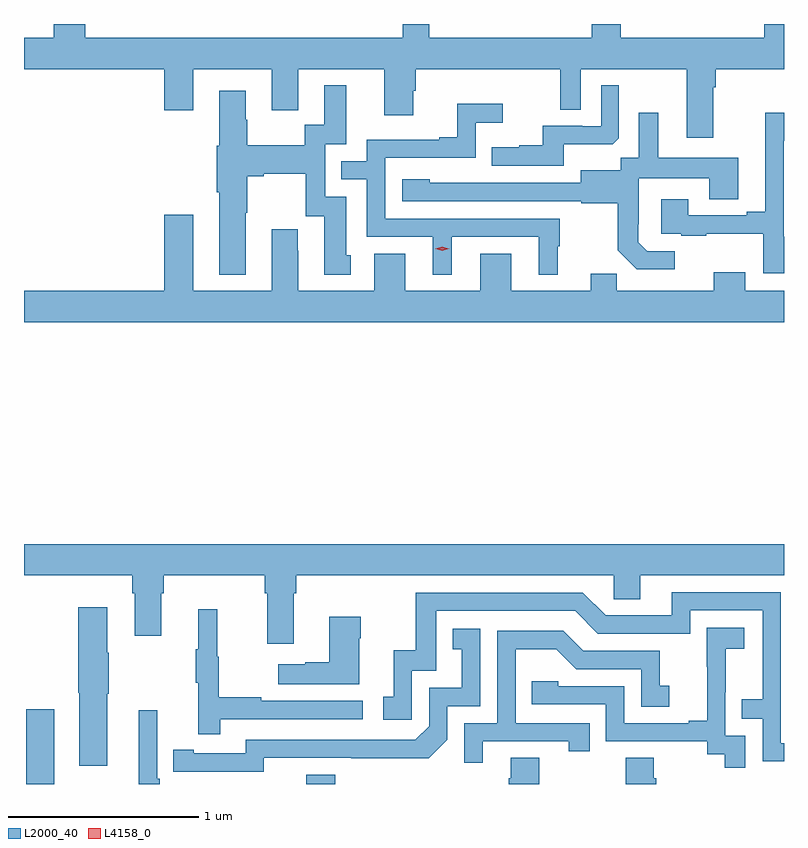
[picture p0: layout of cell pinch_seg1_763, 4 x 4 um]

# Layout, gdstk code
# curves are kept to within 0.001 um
import gdstk
lib = gdstk.Library(unit=1e-6, precision=1e-09)
def R(c, l, rs):  # rectangles x0, y0, x1, y1
    for r in rs: c.add(gdstk.rectangle(r[:2], r[2:], *l))
def P(c, l, *ps):  # polygons
    for p in ps: c.add(gdstk.Polygon(p, *l))
L2000_40 = (2000, 40)
L4158_0 = (4158, 0)

pinch_seg1_763 = lib.new_cell('pinch_seg1_763')
R(pinch_seg1_763, L2000_40, [(590.212,573.277,590.359,573.67), (591.686,573.277,591.839,573.325)])
P(pinch_seg1_763, L2000_40, [(593.827,576.944),(593.84,576.944),(593.84,577.04),(594.2,577.04),(594.2,577.277),(594.095,577.277),(594.095,577.204),(593.342,577.204),(593.342,577.277),(593.189,577.277),(593.189,577.204),(592.333,577.204),(592.333,577.277),(592.194,577.277),(592.194,577.204),(590.522,577.204),(590.522,577.277),(590.357,577.277),(590.357,577.204),(590.2,577.204),(590.2,577.04),(590.939,577.04),(590.939,576.822),(591.091,576.822),(591.091,577.04),(591.503,577.04),(591.503,576.822),(591.643,576.822),(591.643,577.04),(592.097,577.04),(592.097,576.798),(592.249,576.798),(592.249,576.927),(592.262,576.927),(592.262,577.04),(593.022,577.04),(593.022,576.826),(593.13,576.826),(593.13,577.04),(593.687,577.04),(593.687,576.678),(593.827,576.678)],
  [(593.041,576.644),(593.299,576.644),(593.331,576.675),(593.331,576.955),(593.238,576.955),(593.238,576.738),(593.138,576.738),(593.138,576.741),(592.931,576.741),(592.931,576.64),(592.807,576.64),(592.807,576.628),(592.663,576.628),(592.663,576.531),(593.041,576.531)],
  [(591.367,576.283),(591.375,576.283),(591.375,576.476),(591.463,576.476),(591.463,576.488),(591.683,576.488),(591.683,576.264),(591.779,576.264),(591.779,575.958),(591.919,575.958),(591.919,576.06),(591.895,576.06),(591.895,576.369),(591.786,576.369),(591.786,576.645),(591.895,576.645),(591.895,576.955),(591.779,576.955),(591.779,576.746),(591.678,576.746),(591.678,576.64),(591.375,576.64),(591.375,576.774),(591.367,576.774),(591.367,576.925),(591.227,576.925),(591.227,576.636),(591.215,576.636),(591.215,576.392),(591.227,576.392),(591.227,575.957),(591.367,575.957)],
  [(592.45,576.156),(592.91,576.156),(592.91,575.957),(593.008,575.957),(593.008,576.108),(593.02,576.108),(593.02,576.252),(592.101,576.252),(592.101,576.573),(592.578,576.573),(592.578,576.758),(592.72,576.758),(592.72,576.857),(592.48,576.857),(592.48,576.682),(592.385,576.682),(592.385,576.669),(592.005,576.669),(592.005,576.555),(591.871,576.555),(591.871,576.459),(592.005,576.459),(592.005,576.156),(592.352,576.156),(592.352,575.957),(592.45,575.957)],
  [(594.2,576.157),(594.198,576.157),(594.198,576.662),(594.2,576.662),(594.2,576.811),(594.101,576.811),(594.101,576.289),(594.005,576.289),(594.005,576.27),(593.695,576.27),(593.695,576.355),(593.555,576.355),(593.555,576.174),(593.659,576.174),(593.659,576.162),(593.791,576.162),(593.791,576.173),(594.09,576.173),(594.09,575.964),(594.2,575.964)],
  [(593.626,576.081),(593.481,576.081),(593.434,576.128),(593.434,576.223),(593.436,576.223),(593.436,576.464),(593.807,576.464),(593.807,576.355),(593.959,576.355),(593.959,576.574),(593.539,576.574),(593.539,576.811),(593.435,576.811),(593.435,576.572),(593.34,576.572),(593.34,576.508),(593.129,576.508),(593.129,576.441),(592.335,576.442),(592.335,576.46),(592.191,576.46),(592.191,576.345),(593.133,576.345),(593.133,576.333),(593.325,576.333),(593.325,576.087),(593.425,575.987),(593.626,575.987)],
  [(594.2,575.872),(593.995,575.872),(593.995,575.971),(593.831,575.971),(593.831,575.872),(593.321,575.872),(593.321,575.963),(593.183,575.963),(593.183,575.872),(592.765,575.872),(592.765,576.067),(592.601,576.067),(592.601,575.872),(592.207,575.872),(592.207,576.067),(592.043,576.067),(592.043,575.872),(591.643,575.872),(591.643,576.083),(591.64,576.083),(591.64,576.196),(591.503,576.196),(591.503,575.872),(591.091,575.872),(591.091,576.274),(590.939,576.274),(590.939,575.872),(590.2,575.872),(590.2,575.708),(594.2,575.708)],
  [(591.619,574.28),(591.632,574.28),(591.632,574.376),(593.304,574.376),(593.304,574.249),(593.443,574.249),(593.443,574.376),(594.2,574.376),(594.2,574.54),(590.2,574.54),(590.2,574.376),(590.771,574.376),(590.771,574.28),(590.783,574.28),(590.783,574.056),(590.923,574.056),(590.923,574.28),(590.936,574.28),(590.936,574.376),(591.467,574.376),(591.467,574.28),(591.479,574.28),(591.479,574.014),(591.619,574.014)],
  [(594.2,573.492),(594.183,573.492),(594.183,574.287),(593.609,574.287),(593.609,574.164),(593.262,574.164),(593.142,574.284),(592.263,574.284),(592.263,573.982),(592.145,573.982),(592.145,573.735),(592.092,573.735),(592.092,573.615),(592.242,573.615),(592.242,573.873),(592.371,573.873),(592.371,574.188),(593.1,574.188),(593.22,574.068),(593.706,574.068),(593.706,574.191),(594.087,574.191),(594.087,573.722),(593.977,573.722),(593.977,573.621),(594.087,573.621),(594.087,573.396),(594.2,573.396)],
  [(590.638,573.751),(590.646,573.751),(590.646,573.968),(590.638,573.968),(590.638,574.207),(590.485,574.207),(590.485,573.757),(590.492,573.757),(590.492,573.372),(590.638,573.372)],
  [(591.233,573.618),(591.982,573.618),(591.982,573.714),(591.449,573.714),(591.449,573.734),(591.226,573.734),(591.226,573.948),(591.218,573.948),(591.218,574.198),(591.116,574.198),(591.116,573.985),(591.105,573.985),(591.105,573.811),(591.116,573.811),(591.116,573.54),(591.233,573.54)],
  [(591.964,574.043),(591.972,574.043),(591.972,574.156),(591.806,574.156),(591.806,573.917),(591.68,573.917),(591.68,573.907),(591.537,573.907),(591.537,573.803),(591.964,573.803)],
  [(593.997,573.531),(593.892,573.531),(593.892,573.761),(593.894,573.761),(593.894,573.989),(593.992,573.989),(593.992,574.099),(593.794,574.099),(593.794,573.893),(593.795,573.893),(593.795,573.61),(593.699,573.61),(593.699,573.597),(593.358,573.597),(593.358,573.792),(593.013,573.792),(593.013,573.819),(592.873,573.819),(592.873,573.696),(593.262,573.696),(593.262,573.501),(593.796,573.501),(593.796,573.433),(593.889,573.433),(593.889,573.363),(593.997,573.363)],
  [(591.462,573.414),(592.33,573.413),(592.428,573.51),(592.428,573.687),(592.602,573.687),(592.602,574.093),(592.456,574.093),(592.456,573.987),(592.505,573.987),(592.505,573.783),(592.332,573.783),(592.332,573.582),(592.26,573.51),(591.366,573.51),(591.366,573.438),(591.094,573.438),(591.094,573.458),(590.986,573.458),(590.986,573.342),(591.462,573.341)],
  [(592.615,573.501),(593.066,573.501),(593.066,573.45),(593.177,573.45),(593.177,573.597),(592.788,573.597),(592.788,573.986),(593.002,573.986),(593.106,573.882),(593.448,573.882),(593.448,573.684),(593.596,573.684),(593.596,573.793),(593.547,573.793),(593.547,573.978),(593.143,573.978),(593.038,574.083),(592.692,574.083),(592.692,573.597),(592.518,573.597),(592.518,573.39),(592.615,573.39)],
  [(590.915,573.304),(590.901,573.304),(590.901,573.664),(590.804,573.664),(590.804,573.277),(590.915,573.277)],
  [(593.528,573.306),(593.515,573.306),(593.515,573.416),(593.368,573.416),(593.368,573.277),(593.528,573.277)],
  [(592.911,573.416),(592.763,573.416),(592.763,573.306),(592.751,573.306),(592.751,573.277),(592.911,573.277)])
P(pinch_seg1_763, L4158_0, [(592.401,576.084),(592.365,576.094),(592.365,576.094),(592.365,576.094),(592.401,576.104),(592.436,576.094),(592.437,576.094),(592.436,576.094)])

lib.write_gds('pinch_seg1_763.gds')
